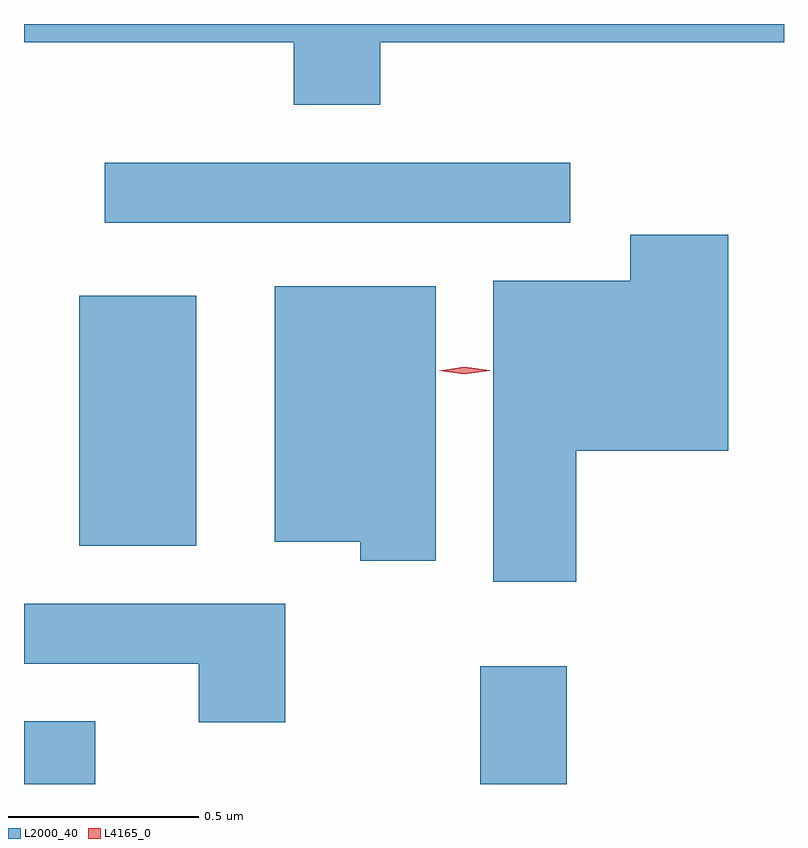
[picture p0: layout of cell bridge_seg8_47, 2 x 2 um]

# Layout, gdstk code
import gdstk
lib = gdstk.Library(unit=1e-6, precision=1e-09)
def R(c, l, rs):  # rectangles x0, y0, x1, y1
    for r in rs: c.add(gdstk.rectangle(r[:2], r[2:], *l))
def P(c, l, *ps):  # polygons
    for p in ps: c.add(gdstk.Polygon(p, *l))
L2000_40 = (2000, 40)
L4165_0 = (4165, 0)

bridge_seg8_47 = lib.new_cell('bridge_seg8_47')
R(bridge_seg8_47, L2000_40, [(1588.591,1909.944,1588.779,1910.109), (1589.791,1909.944,1590.019,1910.254), (1588.736,1910.571,1589.044,1911.229), (1588.803,1911.421,1590.028,1911.579)])
P(bridge_seg8_47, L2000_40, [(1589.529,1911.896),(1590.591,1911.896),(1590.591,1911.944),(1588.591,1911.944),(1588.591,1911.896),(1589.301,1911.896),(1589.301,1911.731),(1589.529,1911.731)],
  [(1590.044,1910.821),(1590.444,1910.821),(1590.444,1911.389),(1590.186,1911.389),(1590.186,1911.269),(1589.826,1911.269),(1589.826,1910.476),(1590.044,1910.476)],
  [(1589.674,1911.254),(1589.251,1911.254),(1589.251,1910.581),(1589.476,1910.581),(1589.476,1910.531),(1589.674,1910.531)],
  [(1589.279,1910.419),(1588.591,1910.419),(1588.591,1910.261),(1589.051,1910.261),(1589.051,1910.106),(1589.279,1910.106)])
P(bridge_seg8_47, L4165_0, [(1589.75,1911.022),(1589.684,1911.031),(1589.684,1911.032),(1589.684,1911.032),(1589.75,1911.042),(1589.816,1911.033),(1589.816,1911.032),(1589.816,1911.032)])

lib.write_gds('bridge_seg8_47.gds')
